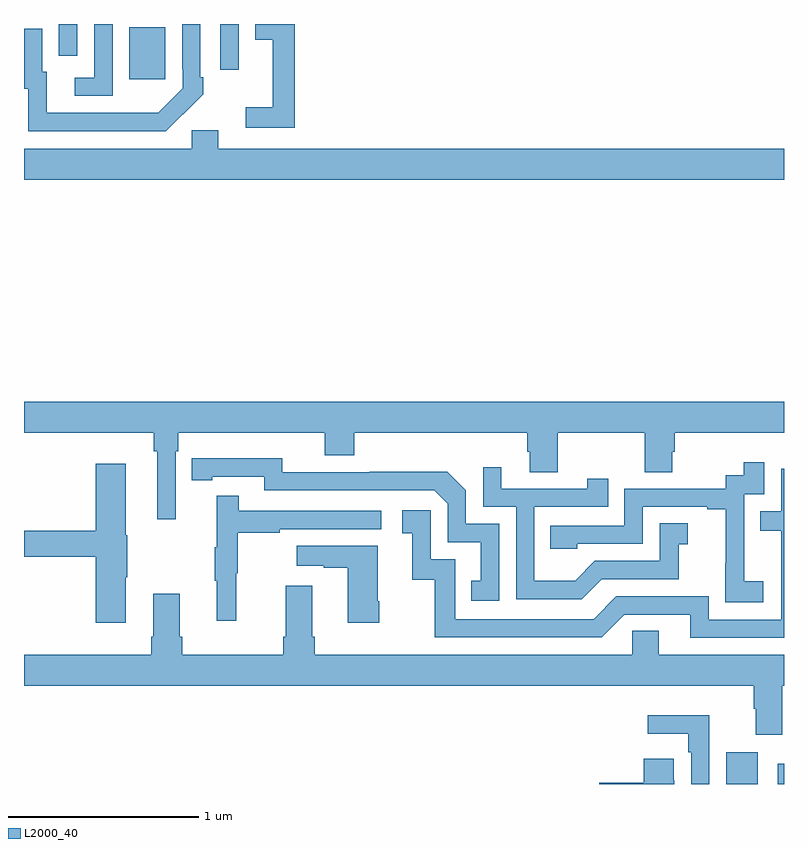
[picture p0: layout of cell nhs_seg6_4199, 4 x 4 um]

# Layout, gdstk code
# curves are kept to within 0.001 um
import gdstk
lib = gdstk.Library(unit=1e-6, precision=1e-09)
def R(c, l, rs):  # rectangles x0, y0, x1, y1
    for r in rs: c.add(gdstk.rectangle(r[:2], r[2:], *l))
def P(c, l, *ps):  # polygons
    for p in ps: c.add(gdstk.Polygon(p, *l))
L2000_40 = (2000, 40)

nhs_seg6_4199 = lib.new_cell('nhs_seg6_4199')
R(nhs_seg6_4199, L2000_40, [(362.696,933.5,362.863,933.667), (362.967,933.5,363,933.607), (359.555,937.209,359.743,937.483), (360.033,937.26,360.129,937.5), (359.184,937.332,359.28,937.5)])
P(nhs_seg6_4199, L2000_40, [(360.425,937.5),(360.218,937.5),(360.218,937.418),(360.308,937.418),(360.308,937.063),(360.168,937.063),(360.168,936.954),(360.425,936.954)],
  [(359.466,937.5),(359.37,937.5),(359.37,937.218),(359.268,937.218),(359.268,937.122),(359.466,937.122)],
  [(359.837,937.027),(359.838,937.026),(359.943,937.131),(359.943,937.219),(359.928,937.219),(359.928,937.5),(359.832,937.5),(359.832,937.261),(359.835,937.261),(359.835,937.161),(359.707,937.033),(359.119,937.032),(359.119,937.248),(359.095,937.248),(359.095,937.474),(359,937.474),(359,937.158),(359.022,937.158),(359.022,936.936),(359.746,936.936)],
  [(363,936.844),(360.022,936.844),(360.022,936.942),(359.883,936.942),(359.883,936.844),(359,936.844),(359,936.68),(363,936.68)],
  [(359.799,935.252),(359.813,935.252),(359.813,935.348),(360.584,935.348),(360.584,935.231),(360.737,935.231),(360.737,935.348),(361.649,935.348),(361.649,935.25),(361.661,935.25),(361.661,935.14),(361.809,935.14),(361.809,935.348),(362.266,935.348),(362.266,935.14),(362.413,935.14),(362.413,935.25),(362.426,935.25),(362.426,935.348),(363,935.348),(363,935.512),(359,935.512),(359,935.348),(359.683,935.348),(359.683,935.252),(359.702,935.252),(359.702,934.893),(359.799,934.893)],
  [(361.5,934.869),(361.326,934.869),(361.326,935.046),(361.228,935.144),(360.82,935.144),(360.82,935.142),(360.36,935.142),(360.36,935.215),(359.884,935.214),(359.884,935.098),(359.992,935.098),(359.992,935.118),(360.264,935.118),(360.264,935.046),(361.158,935.046),(361.23,934.974),(361.23,934.773),(361.403,934.773),(361.403,934.569),(361.354,934.569),(361.354,934.464),(361.5,934.464)],
  [(362.89,934.567),(362.792,934.567),(362.792,934.796),(362.79,934.796),(362.79,935.025),(362.895,935.025),(362.895,935.194),(362.787,935.194),(362.787,935.124),(362.694,935.124),(362.694,935.055),(362.16,935.055),(362.16,934.86),(361.771,934.86),(361.771,934.737),(361.911,934.737),(361.911,934.764),(362.256,934.764),(362.256,934.959),(362.597,934.959),(362.597,934.947),(362.693,934.947),(362.693,934.663),(362.692,934.663),(362.692,934.457),(362.89,934.457)],
  [(359.536,934.588),(359.544,934.588),(359.544,934.809),(359.536,934.809),(359.536,935.185),(359.378,935.185),(359.378,934.832),(359,934.832),(359,934.696),(359.378,934.696),(359.378,934.35),(359.536,934.35)],
  [(362.041,934.578),(362.445,934.578),(362.445,934.763),(362.494,934.763),(362.494,934.873),(362.346,934.873),(362.346,934.674),(362.004,934.674),(361.9,934.57),(361.686,934.57),(361.686,934.959),(362.075,934.959),(362.075,935.107),(361.964,935.107),(361.964,935.055),(361.513,935.055),(361.513,935.167),(361.416,935.167),(361.416,934.959),(361.59,934.959),(361.59,934.473),(361.936,934.473)],
  [(363,935.16),(362.985,935.16),(362.985,934.935),(362.875,934.935),(362.875,934.834),(362.985,934.834),(362.985,934.365),(362.604,934.365),(362.604,934.488),(362.118,934.488),(361.998,934.368),(361.269,934.368),(361.269,934.683),(361.14,934.683),(361.14,934.942),(360.99,934.942),(360.99,934.821),(361.043,934.821),(361.043,934.575),(361.161,934.575),(361.161,934.272),(362.04,934.272),(362.16,934.392),(362.507,934.392),(362.507,934.269),(363,934.269)],
  [(360.116,934.608),(360.124,934.608),(360.124,934.822),(360.347,934.822),(360.347,934.842),(360.88,934.842),(360.88,934.938),(360.131,934.938),(360.131,935.017),(360.014,935.017),(360.014,934.745),(360.003,934.745),(360.003,934.571),(360.014,934.571),(360.014,934.359),(360.116,934.359)],
  [(360.87,934.462),(360.862,934.462),(360.862,934.753),(360.435,934.753),(360.435,934.649),(360.578,934.649),(360.578,934.639),(360.704,934.639),(360.704,934.35),(360.87,934.35)],
  [(362.992,934.016),(363,934.016),(363,934.18),(362.341,934.18),(362.341,934.307),(362.202,934.307),(362.202,934.18),(360.53,934.18),(360.53,934.276),(360.517,934.276),(360.517,934.543),(360.377,934.543),(360.377,934.276),(360.365,934.276),(360.365,934.18),(359.834,934.18),(359.834,934.276),(359.821,934.276),(359.821,934.501),(359.681,934.501),(359.681,934.276),(359.669,934.276),(359.669,934.18),(359,934.18),(359,934.016),(362.84,934.016),(362.84,933.896),(362.852,933.896),(362.852,933.759),(362.992,933.759)],
  [(362.607,933.862),(362.283,933.862),(362.283,933.764),(362.495,933.764),(362.495,933.668),(362.511,933.668),(362.511,933.5),(362.607,933.5)],
  [(362.422,933.521),(362.421,933.521),(362.421,933.634),(362.261,933.634),(362.261,933.506),(362.028,933.506),(362.028,933.5),(362.422,933.5)])

lib.write_gds('nhs_seg6_4199.gds')
